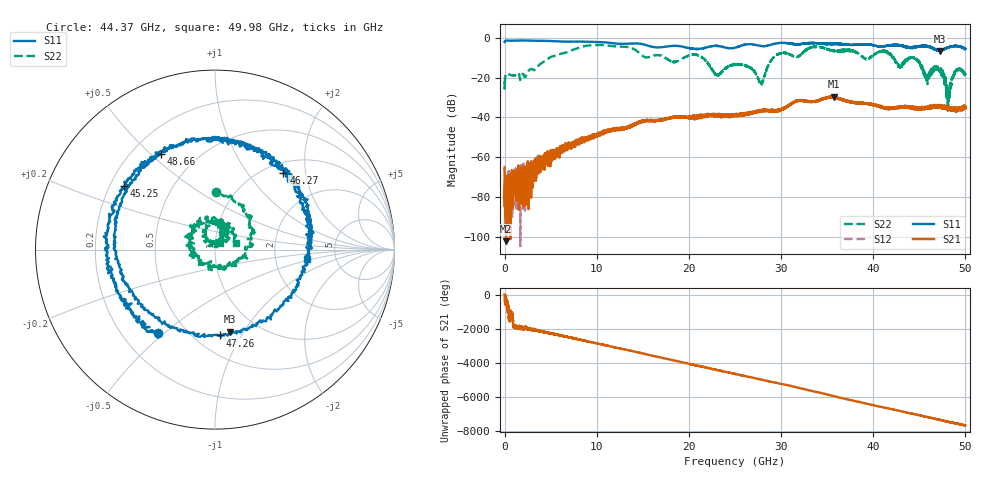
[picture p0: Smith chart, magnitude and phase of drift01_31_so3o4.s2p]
!Created with skrf (http://scikit-rf.org).
# Hz S RI R 50.0
!freq ReS11 ImS11 ReS21 ImS21 ReS12 ImS12 ReS22 ImS22
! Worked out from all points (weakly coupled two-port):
!   10001 points, 300 kHz to 50 GHz, reference 50 ohm
!   highest |S21| = -29.56 dB at 35.74 GHz (marker M1); lowest = -102.1 dB at 160.3 MHz (marker M2)
!   lowest |S11| = -6.7 dB at 47.22 GHz (marker M3), VSWR 2.73, Z = 37.4 - j43.5 ohm
!   |S11| at or under -10 dB: nowhere
!   |S22| runs from -36.6 to -3.6 dB; largest |S21 - S12| = 0.0036
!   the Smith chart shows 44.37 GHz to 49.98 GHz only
!   S11 on the Smith chart (normalised r, x): 44.37 GHz: 0.35, -0.48; 45.25 GHz: 0.26, +0.30; 46.27 GHz: 1.18, +1.51; 47.26 GHz: 0.65, -0.81; 48.66 GHz: 0.31, +0.54; 49.98 GHz: 3.08, -0.42
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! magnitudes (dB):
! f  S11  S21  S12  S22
! 300 kHz  -2.1  -65.5  -64.2  -21.9
! 160.3 MHz  -1.5  -102.1  -74.3  -18.1
! 8.335 GHz  -1.9  -52.5  -50.6  -4.6
! 16.67 GHz  -4.8  -41.8  -41.5  -8.7
! 20.97 GHz  -5.7  -39.9  -40.1  -8.8
! 23.07 GHz  -4.1  -39.1  -39.1  -18.7
! 25 GHz  -5.0  -39.2  -39.1  -13.6
! 27.84 GHz  -4.1  -36.7  -36.9  -23.0
! 29.47 GHz  -2.9  -36.6  -36.3  -8.8
! 33.34 GHz  -2.6  -32.3  -31.9  -4.8
! 35.74 GHz  -2.9  -29.6  -29.9  -6.5
! 41.67 GHz  -3.9  -35.7  -35.2  -7.7
! 42.84 GHz  -4.0  -35.2  -34.5  -14.2
! 44.37 GHz  -5.0  -35.3  -35.1  -9.9
! 45.25 GHz  -4.2  -35.7  -35.5  -14.5
! 46.27 GHz  -4.8  -34.9  -34.4  -16.4
! 47.22 GHz  -6.7  -33.9  -34.7  -16.8
! 47.26 GHz  -6.4  -34.4  -35.0  -16.8
! 48.12 GHz  -4.9  -36.0  -34.8  -33.1
! 48.66 GHz  -4.2  -36.0  -36.0  -19.9
! 49.98 GHz  -5.7  -35.3  -34.6  -18.4
! 50 GHz  -5.6  -35.4  -34.8  -18.6
